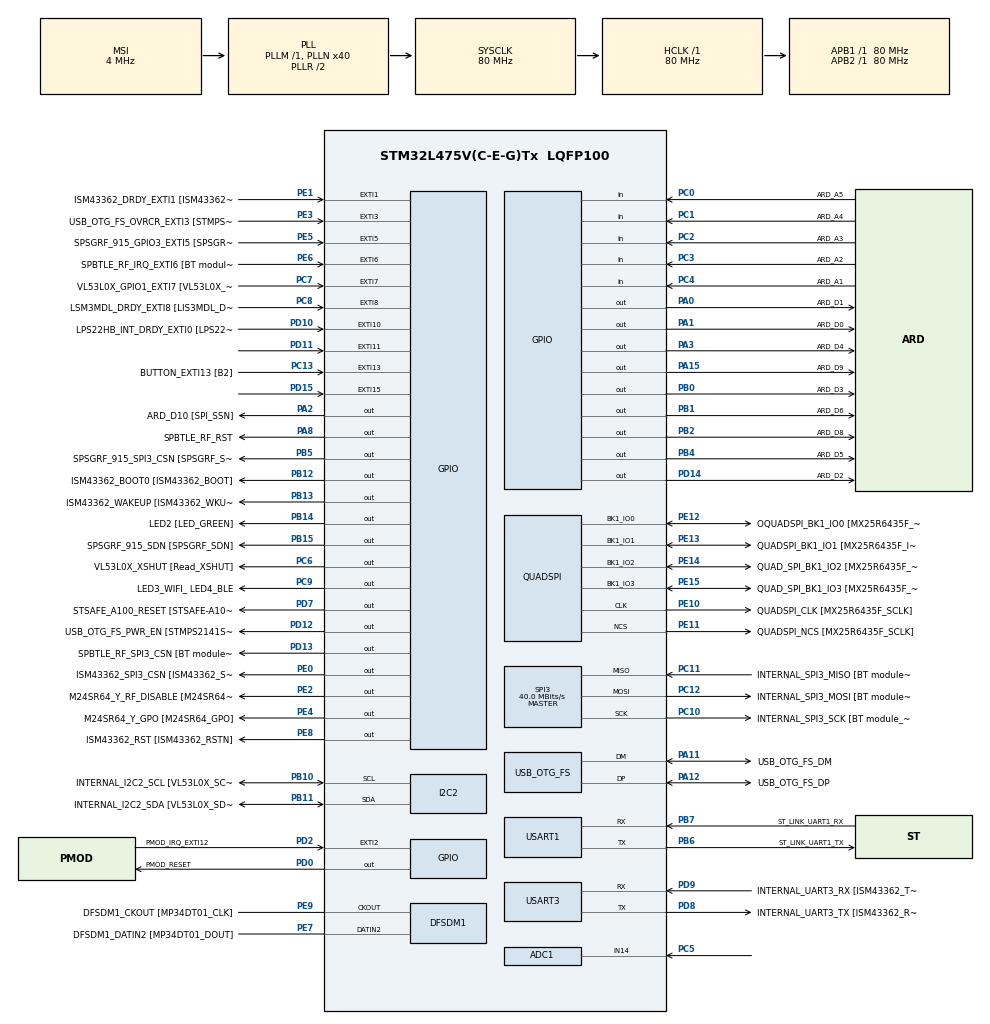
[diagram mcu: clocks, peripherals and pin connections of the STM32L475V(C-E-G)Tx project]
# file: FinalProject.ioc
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ADC1.Channel-0\#ChannelRegularConversion=ADC_CHANNEL_14
ADC1.EnableRegularConversion=ENABLE
ADC1.NbrOfConversionFlag=1
ADC1.OffsetNumber-0\#ChannelRegularConversion=ADC_OFFSET_NONE
ADC1.Rank-0\#ChannelRegularConversion=1
ADC1.SamplingTime-0\#ChannelRegularConversion=ADC_SAMPLETIME_2CYCLES_5
ADC1.master=1
I2C2.Timing=0x10D19CE4
Mcu.Family=STM32L4
Mcu.Name=STM32L475V(C-E-G)Tx
Mcu.Package=LQFP100
NVIC.EXTI15_10_IRQn=true\:0\:0\:false\:false\:true\:true\:true\:true
NVIC.EXTI9_5_IRQn=true\:0\:0\:false\:false\:true\:true\:true\:true
NVIC.PriorityGroup=NVIC_PRIORITYGROUP_4
NVIC.TIM6_DAC_IRQn=true\:0\:0\:false\:false\:true\:true\:true\:true
PA0.GPIO_Label=ARD_D1
PA0.Signal=GPIO_Output
PA1.GPIO_Label=ARD_D0
PA1.Signal=GPIO_Output
PA10.GPIO_Label=USB_OTG_FS_ID
PA10.Signal=USB_OTG_FS_ID
PA11.GPIO_Label=USB_OTG_FS_DM
PA11.Mode=Device_Only
PA11.Signal=USB_OTG_FS_DM
PA12.GPIO_Label=USB_OTG_FS_DP
PA12.Mode=Device_Only
PA12.Signal=USB_OTG_FS_DP
PA13\ (JTMS-SWDIO).GPIO_Label=SYS_JTMS_SWDIO
PA13\ (JTMS-SWDIO).Mode=Serial_Wire
PA13\ (JTMS-SWDIO).Signal=SYS_JTMS-SWDIO
PA14\ (JTCK-SWCLK).GPIO_Label=SYS_JTCK_SWCLK
PA14\ (JTCK-SWCLK).Mode=Serial_Wire
PA14\ (JTCK-SWCLK).Signal=SYS_JTCK-SWCLK
PA15\ (JTDI).GPIO_Label=ARD_D9
PA15\ (JTDI).Signal=GPIO_Output
PA2.GPIO_Label=ARD_D10 [SPI_SSN]
PA2.Signal=GPIO_Output
PA3.GPIO_Label=ARD_D4
PA3.Signal=GPIO_Output
PA4.GPIO_Label=ARD_D7
PA4.Signal=ADCx_IN9
PA5.GPIO_Label=ARD_D13 [SPI1_SCK]
PA5.Signal=SPI1_SCK
PA6.GPIO_Label=ARD_D12 [SPI1_MISO]
PA6.Signal=SPI1_MISO
PA7.GPIO_Label=ARD_D11 [SPI1_MOSI]
PA7.Signal=SPI1_MOSI
PA8.GPIO_Label=SPBTLE_RF_RST
PA8.Signal=GPIO_Output
PA9.GPIO_Label=USB_OTG_FS_VBUS [STMPS2141STR_OUT]
PA9.Signal=USB_OTG_FS_VBUS
PB0.GPIO_Label=ARD_D3
PB0.Signal=GPIO_Output
PB1.GPIO_Label=ARD_D6
PB1.Signal=GPIO_Output
PB10.GPIO_Label=INTERNAL_I2C2_SCL [VL53L0X_SCL]
PB10.GPIO_Pu=GPIO_PULLUP
PB10.Mode=I2C
PB10.Signal=I2C2_SCL
PB11.GPIO_Label=INTERNAL_I2C2_SDA [VL53L0X_SDA]
PB11.GPIO_Pu=GPIO_PULLUP
PB11.Mode=I2C
PB11.Signal=I2C2_SDA
PB12.GPIO_Label=ISM43362_BOOT0 [ISM43362_BOOT]
PB12.Signal=GPIO_Output
PB13.GPIO_Label=ISM43362_WAKEUP [ISM43362_WKUP]
PB13.Signal=GPIO_Output
PB14.GPIO_Label=LED2 [LED_GREEN]
PB14.Signal=GPIO_Output
PB15.GPIO_Label=SPSGRF_915_SDN [SPSGRF_SDN]
PB15.Signal=GPIO_Output
PB2.GPIO_Label=ARD_D8
PB2.Signal=GPIO_Output
PB3\ (JTDO-TRACESWO).GPIO_Label=SYS_JTD0_SWO
PB3\ (JTDO-TRACESWO).Signal=SYS_JTDO-SWO
PB4\ (NJTRST).GPIO_Label=ARD_D5
PB4\ (NJTRST).Signal=GPIO_Output
PB5.GPIO_Label=SPSGRF_915_SPI3_CSN [SPSGRF_SPI_CS]
PB5.PinState=GPIO_PIN_SET
PB5.Signal=GPIO_Output
PB6.GPIO_Label=ST_LINK_UART1_TX
PB6.Mode=Asynchronous
PB6.Signal=USART1_TX
PB7.GPIO_Label=ST_LINK_UART1_RX
PB7.Mode=Asynchronous
PB7.Signal=USART1_RX
PB8.GPIO_Label=ARD_D15 [I2C1_SCL]
PB8.Signal=I2C1_SCL
PB9.GPIO_Label=ARD_D14 [I2C1_SDA]
PB9.Signal=I2C1_SDA
PC0.GPIO_Label=ARD_A5
PC0.GPIO_PuPd=GPIO_PULLUP
PC0.Signal=GPIO_Input
PC1.GPIO_Label=ARD_A4
PC1.GPIO_PuPd=GPIO_PULLUP
PC1.Signal=GPIO_Input
PC10.GPIO_Label=INTERNAL_SPI3_SCK [BT module_SPI_SCLK] [ISM43362_SCK]
PC10.Mode=Full_Duplex_Master
PC10.Signal=SPI3_SCK
PC11.GPIO_Label=INTERNAL_SPI3_MISO [BT module_SPI_MISO] [ISM43362_MISO]
PC11.Mode=Full_Duplex_Master
PC11.Signal=SPI3_MISO
PC12.GPIO_Label=INTERNAL_SPI3_MOSI [BT module_SPI_MOSI] [ISM43362_MOSI]
PC12.Mode=Full_Duplex_Master
PC12.Signal=SPI3_MOSI
PC13.GPIO_Label=BUTTON_EXTI13 [B2]
PC13.GPIO_ModeDefaultEXTI=GPIO_MODE_IT_FALLING
PC13.Signal=GPXTI13
PC14-OSC32_IN\ (PC14).Mode=LSE-External-Oscillator
PC14-OSC32_IN\ (PC14).Signal=RCC_OSC32_IN
PC15-OSC32_OUT\ (PC15).Mode=LSE-External-Oscillator
PC15-OSC32_OUT\ (PC15).Signal=RCC_OSC32_OUT
PC2.GPIO_Label=ARD_A3
PC2.GPIO_PuPd=GPIO_PULLUP
PC2.Signal=GPIO_Input
PC3.GPIO_Label=ARD_A2
PC3.GPIO_PuPd=GPIO_PULLUP
PC3.Signal=GPIO_Input
PC4.GPIO_Label=ARD_A1
PC4.GPIO_PuPd=GPIO_PULLUP
PC4.Signal=GPIO_Input
PC5.Signal=ADCx_IN14
PC6.GPIO_Label=VL53L0X_XSHUT [Read_XSHUT]
PC6.Signal=GPIO_Output
PC7.GPIO_Label=VL53L0X_GPIO1_EXTI7 [VL53L0X_GPIO1]
PC7.Signal=GPXTI7
PC8.GPIO_Label=LSM3MDL_DRDY_EXTI8 [LIS3MDL_DRDY]
PC8.Signal=GPXTI8
PC9.GPIO_Label=LED3_WIFI_ LED4_BLE
PC9.Signal=GPIO_Output
PD0.GPIO_Label=PMOD_RESET
PD0.Signal=GPIO_Output
PD1.GPIO_Label=PMOD_SPI2_SCK
PD1.Signal=SPI2_SCK
PD10.GPIO_Label=LPS22HB_INT_DRDY_EXTI0 [LPS22HB_INT_DRDY] 
PD10.Signal=GPXTI10
PD11.Signal=GPXTI11
PD12.GPIO_Label=USB_OTG_FS_PWR_EN [STMPS2141STR_EN]
PD12.Signal=GPIO_Output
PD13.GPIO_Label=SPBTLE_RF_SPI3_CSN [BT module_SPI_CS]
PD13.PinState=GPIO_PIN_SET
PD13.Signal=GPIO_Output
PD14.GPIO_Label=ARD_D2
PD14.Signal=GPIO_Output
PD15.Signal=GPXTI15
PD2.GPIO_Label=PMOD_IRQ_EXTI12
PD2.Signal=GPXTI2
PD3.GPIO_Label=PMOD_UART2_CTS
PD3.Signal=USART2_CTS
PD4.GPIO_Label=PMOD_UART2_RTS
PD4.Signal=USART2_RTS
PD5.GPIO_Label=PMOD_UART2_TX
PD5.Signal=USART2_TX
PD6.GPIO_Label=PMOD_UART2_RX
PD6.Signal=USART2_RX
PD7.GPIO_Label=STSAFE_A100_RESET [STSAFE-A100_RESET]
PD7.Signal=GPIO_Output
PD8.GPIO_Label=INTERNAL_UART3_TX [ISM43362_RX]
PD8.Mode=Asynchronous
PD8.Signal=USART3_TX
PD9.GPIO_Label=INTERNAL_UART3_RX [ISM43362_TX]
PD9.Mode=Asynchronous
PD9.Signal=USART3_RX
PE0.GPIO_Label=ISM43362_SPI3_CSN [ISM43362_SSN]
PE0.PinState=GPIO_PIN_SET
PE0.Signal=GPIO_Output
PE1.GPIO_Label=ISM43362_DRDY_EXTI1 [ISM43362_DATARDY]
PE1.Signal=GPXTI1
PE10.GPIO_Label=QUADSPI_CLK [MX25R6435F_SCLK]
PE10.Mode=Single Bank
PE10.Signal=QUADSPI_CLK
PE11.GPIO_Label=QUADSPI_NCS [MX25R6435F_SCLK]
PE11.Mode=Single Bank
PE11.Signal=QUADSPI_NCS
PE12.GPIO_Label=OQUADSPI_BK1_IO0 [MX25R6435F_IO0]
PE12.Mode=Single Bank
PE12.Signal=QUADSPI_BK1_IO0
PE13.GPIO_Label=QUADSPI_BK1_IO1 [MX25R6435F_IO1]
PE13.Mode=Single Bank
PE13.Signal=QUADSPI_BK1_IO1
PE14.GPIO_Label=QUAD_SPI_BK1_IO2 [MX25R6435F_IO2]
PE14.Mode=Single Bank
PE14.Signal=QUADSPI_BK1_IO2
PE15.GPIO_Label=QUAD_SPI_BK1_IO3 [MX25R6435F_IO3]
PE15.Mode=Single Bank
PE15.Signal=QUADSPI_BK1_IO3
PE2.GPIO_Label=M24SR64_Y_RF_DISABLE [M24SR64_RFDIS]
PE2.Signal=GPIO_Output
PE3.GPIO_Label=USB_OTG_FS_OVRCR_EXTI3 [STMPS2141STR_FAULT]
PE3.Signal=GPXTI3
PE4.GPIO_Label=M24SR64_Y_GPO [M24SR64_GPO]
PE4.Signal=GPIO_Output
PE5.GPIO_Label=SPSGRF_915_GPIO3_EXTI5 [SPSGRF_GPIO_3]
PE5.Signal=GPXTI5
PE6.GPIO_Label=SPBTLE_RF_IRQ_EXTI6 [BT module_SPI_IRQ]
PE6.Signal=GPXTI6
PE7.GPIO_Label=DFSDM1_DATIN2 [MP34DT01_DOUT]
PE7.Signal=S_DATAIN2DFSDM1
PE8.GPIO_Label=ISM43362_RST [ISM43362_RSTN]
PE8.Signal=GPIO_Output
PE9.GPIO_Label=DFSDM1_CKOUT [MP34DT01_CLK]
PE9.Signal=S_CKOUTDFSDM1
ProjectManager.HeapSize=0x200
ProjectManager.StackSize=0x400
ProjectManager.TargetToolchain=STM32CubeIDE
QUADSPI.ClockPrescaler=2
QUADSPI.FifoThreshold=4
QUADSPI.FlashSize=23
QUADSPI.SampleShifting=QSPI_SAMPLE_SHIFTING_HALFCYCLE
RCC.ADCFreq_Value=48000000
RCC.AHBFreq_Value=80000000
RCC.APB1Freq_Value=80000000
RCC.APB1TimFreq_Value=80000000
RCC.APB2Freq_Value=80000000
RCC.APB2TimFreq_Value=80000000
RCC.CortexFreq_Value=80000000
RCC.HCLKFreq_Value=80000000
RCC.HSE_VALUE=8000000
RCC.HSI_VALUE=16000000
RCC.MSI_VALUE=4000000
RCC.PLLN=40
RCC.PLLSAI1N=24
RCC.SYSCLKFreq_VALUE=80000000
RCC.SYSCLKSource=RCC_SYSCLKSOURCE_PLLCLK
RCC.USBFreq_Value=48000000
RCC.VCOOutputFreq_Value=160000000
SH.ADCx_IN14.0=ADC1_IN14,IN14-Single-Ended
SH.ADCx_IN9.0=ADC1_IN9
SH.S_CKOUTDFSDM1.0=DFSDM1_CKOUT,CKOUT
SH.S_CKOUTDFSDM1.1=DFSDM1_CKOUT,PDM_SPI_Input_from_ch12_and_Internal_Clock
SH.S_DATAIN2DFSDM1.0=DFSDM1_DATIN2,PDM_SPI_Input_from_ch12_and_Internal_Clock
SPI3.CalculateBaudRate=40.0 MBits/s
SPI3.Direction=SPI_DIRECTION_2LINES
SPI3.Mode=SPI_MODE_MASTER
SPI3.VirtualType=VM_MASTER
USART1.VirtualMode-Asynchronous=VM_ASYNC
USART3.VirtualMode-Asynchronous=VM_ASYNC
USB_OTG_FS.VirtualMode=Device_Only
VP_TIM6_VS_ClockSourceINT.Mode=Enable_Timer
board=B-L475E-IOT01A2

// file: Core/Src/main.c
/* USER CODE BEGIN Header */
/**
  ******************************************************************************
  * @file           : main.c
  * @brief          : Main program body
  ******************************************************************************
  * @attention
  *
  * Copyright (c) 2025 STMicroelectronics.
  * All rights reserved.
  *
  * This software is licensed under terms that can be found in the LICENSE file
  * in the root directory of this software component.
  * If no LICENSE file comes with this software, it is provided AS-IS.
  *
  ******************************************************************************
  */
/* USER CODE END Header */
#include "main.h"

/* USER CODE BEGIN Includes */
#include "stm32l475e_iot01.h"
#include "stm32l475e_iot01_tsensor.h"

#include <stdio.h>
#include <string.h>
/* USER CODE END Includes */

/* USER CODE BEGIN PD */
#define PWR_ON_OFF 		BUTTON_EXTI13_Pin
#define PWR_ON_OFF_LED 	LED2_Pin

#define AUTO_OFF_LED ARD_D0_Pin
#define AUTO_OFF_LED_PORT ARD_D0_GPIO_Port

#define ADD_WATER_LED ARD_D1_Pin
#define ADD_WATER_LED_PORT ARD_D1_GPIO_Port

#define STRONG_BREW_LED ARD_D2_Pin
#define STRONG_BREW_LED_PORT ARD_D2_GPIO_Port

#define BREW_BUTTON_LED_1 ARD_D3_Pin
#define BREW_BUTTON_LED_1_PORT ARD_D3_GPIO_Port

#define BREW_BUTTON_LED_2 ARD_D4_Pin
#define BREW_BUTTON_LED_2_PORT ARD_D4_GPIO_Port

#define BREW_BUTTON_LED_3 ARD_D5_Pin
#define BREW_BUTTON_LED_3_PORT ARD_D5_GPIO_Port

#define BREW_BUTTON_LED_4 ARD_D6_Pin
#define BREW_BUTTON_LED_4_PORT ARD_D6_GPIO_Port

#define STRONG_BREW_BUTTON ARD_A1_Pin
#define STRONG_BREW_BUTTON_PORT ARD_A1_GPIO_Port
#define CUP_SIZE_BUTTON_1 ARD_A2_Pin
#define CUP_SIZE_BUTTON_1_PORT ARD_A2_GPIO_Port
#define CUP_SIZE_BUTTON_2 ARD_A3_Pin
#define CUP_SIZE_BUTTON_2_PORT ARD_A3_GPIO_Port
#define CUP_SIZE_BUTTON_3 ARD_A4_Pin
#define CUP_SIZE_BUTTON_3_PORT ARD_A4_GPIO_Port
#define CUP_SIZE_BUTTON_4 ARD_A5_Pin
#define CUP_SIZE_BUTTON_4_PORT ARD_A5_GPIO_Port

#define WATER_LVL_SENSOR ARD_A0_Pin

#define NONE	 	0x00
#define STRONG 	 	0x01
#define CUP_SIZE_1  0x02
#define CUP_SIZE_2  0x04
#define CUP_SIZE_3  0x08
#define CUP_SIZE_4  0x10
/* USER CODE END PD */

ADC_HandleTypeDef hadc1;

DFSDM_Channel_HandleTypeDef hdfsdm1_channel1;

I2C_HandleTypeDef hi2c2;

QSPI_HandleTypeDef hqspi;

SPI_HandleTypeDef hspi3;

TIM_HandleTypeDef htim6;

UART_HandleTypeDef huart1;
UART_HandleTypeDef huart3;

PCD_HandleTypeDef hpcd_USB_OTG_FS;

/* USER CODE BEGIN PV */
uint8_t coff_mkr_status = 0;
uint8_t elapsed_time = 0;

enum COFF_MKR_STATUS {
	COFF_MKR_OFF,
	COFF_MKR_ON
};

/* USER CODE END PV */

void SystemClock_Config(void);
void PeriphCommonClock_Config(void);
static void MX_GPIO_Init(void);
static void MX_DFSDM1_Init(void);
static void MX_I2C2_Init(void);
static void MX_QUADSPI_Init(void);
static void MX_SPI3_Init(void);
static void MX_USART1_UART_Init(void);
static void MX_USART3_UART_Init(void);
static void MX_USB_OTG_FS_PCD_Init(void);
static void MX_ADC1_Init(void);
static void MX_TIM6_Init(void);

/* USER CODE BEGIN 0 */
//Wrapper to transmit on UART1 using printf
int __io_putchar(int ch) {
	HAL_UART_Transmit(&huart1, (uint8_t *)&ch, 1, 100);
	return 1;
}

//Callback function to jump to when external interruption happens
void HAL_GPIO_EXTI_Callback(uint16_t GPIO_Pin) {
	//Switch LED2 on/off of every interruption
	//Toggle machine state every time User button is pressed
	coff_mkr_status = !coff_mkr_status;
	if (coff_mkr_status) {
		printf("COFFEE MAKER ON!!\r\n");
	}
	else
		printf("COFFEE MAKER OFF!!\r\n");
}
//Read Water Level and control Warning LED to turn on if water < 25%
void ReadWaterLevel(){
	static uint8_t prev_time = 0;
	HAL_ADC_Start(&hadc1);
	HAL_ADC_PollForConversion(&hadc1, 1000);
	//Get adc input and convert to 0-100%
	uint8_t water_lvl = HAL_ADC_GetValue(&hadc1) * (100.0 / 4096.0);
	//Check if water level less then 25%, and switch warning led on if true
	if (water_lvl <= 25)
		HAL_GPIO_WritePin(ADD_WATER_LED_PORT, ADD_WATER_LED, GPIO_PIN_SET);
	else
		HAL_GPIO_WritePin(ADD_WATER_LED_PORT, ADD_WATER_LED, GPIO_PIN_RESET);
	//Print message every 1 seconds
	if (elapsed_time != prev_time) {
		prev_time = elapsed_time;
		printf("Water Level: %d %%\r\n", water_lvl);
		if (water_lvl <= 25)
			printf("Water Level too low. Fill water tank!\r\n");
	}

}
//Read water temperature and print info
void ReadWaterTemp() {
	static uint8_t prev_time = 0;
	//Use BSP to get data from temperature sensor
	int water_temp = BSP_TSENSOR_ReadTemp();
	//Print message every 1 seconds
	if (elapsed_time != prev_time) {
		prev_time = elapsed_time;
		printf("Water Temp: %d C\r\n", water_temp);
	}
}

//Wrapper to control all outputs at once
void SetCoffeeMode(uint8_t coff_mod) {
	HAL_GPIO_WritePin(STRONG_BREW_LED_PORT, STRONG_BREW_LED, 	 coff_mod & STRONG);
	HAL_GPIO_WritePin(BREW_BUTTON_LED_1_PORT, BREW_BUTTON_LED_1, coff_mod & CUP_SIZE_1);
	HAL_GPIO_WritePin(BREW_BUTTON_LED_2_PORT, BREW_BUTTON_LED_2, coff_mod & CUP_SIZE_2);
	HAL_GPIO_WritePin(BREW_BUTTON_LED_3_PORT, BREW_BUTTON_LED_3, coff_mod & CUP_SIZE_3);
	HAL_GPIO_WritePin(BREW_BUTTON_LED_4_PORT, BREW_BUTTON_LED_4, coff_mod & CUP_SIZE_4);

}
//Callback function to jump to when external interruption happens
void HAL_TIM_PeriodElapsedCallback(TIM_HandleTypeDef *htim) {
	//Increment elapsed time in every 1 second
	if(htim->Instance == TIM6) {
		elapsed_time++;
	}
	/* Start TIM6 in interrupt mode */
	HAL_TIM_Base_Start_IT(&htim6);

}

/* USER CODE END 0 */

int main(void)
{

	/* USER CODE BEGIN 1 */
	uint8_t coff_time = 0;
	uint8_t debounce = 1;

	/* USER CODE END 1 */

	/* MCU Configuration--------------------------------------------------------*/

	/* Reset of all peripherals, Initializes the Flash interface and the Systick. */
	HAL_Init();

	/* Configure the system clock */
	SystemClock_Config();

	/* Configure the peripherals common clocks */
	PeriphCommonClock_Config();

	/* Initialize all configured peripherals */
	MX_GPIO_Init();
	MX_DFSDM1_Init();
	MX_I2C2_Init();
	MX_QUADSPI_Init();
	MX_SPI3_Init();
	MX_USART1_UART_Init();
	MX_USART3_UART_Init();
	MX_USB_OTG_FS_PCD_Init();
	MX_ADC1_Init();
	MX_TIM6_Init();
	/* USER CODE BEGIN 2 */
	//Initialize Devices from BSP
	BSP_TSENSOR_Init();

	HAL_TIM_IRQHandler(&htim6);
	/* Start TIM6 in interrupt mode */
	if (HAL_TIM_Base_Start_IT(&htim6) != HAL_OK) {
		/* Starting Error */
		Error_Handler();
	}

	HAL_GPIO_EXTI_IRQHandler(BUTTON_EXTI13_Pin);

	// Start first ADC conversion in interrupt mode
	if (HAL_ADC_Start(&hadc1) != HAL_OK)
	{
		// ADC start error
		Error_Handler();
	}

	/* USER CODE END 2 */

	/* Infinite loop */
	while (1)
	{

	/* USER CODE BEGIN 3 */
		//Check if the machine is On or OFF(Stand-by)
		switch(coff_mkr_status) {
			//Case OFF (Stand-by)
			case COFF_MKR_OFF:
				BSP_LED_Off(PWR_ON_OFF_LED);
				SetCoffeeMode(NONE);
				HAL_GPIO_WritePin(AUTO_OFF_LED_PORT, AUTO_OFF_LED, GPIO_PIN_RESET);
				break;
			//Case ON
			case COFF_MKR_ON:
				BSP_LED_On(PWR_ON_OFF_LED);
				HAL_GPIO_WritePin(AUTO_OFF_LED_PORT, AUTO_OFF_LED, GPIO_PIN_SET);
				ReadWaterLevel();
				ReadWaterTemp();
				//Read Inputs and choose the type of coffee to make
				if (!HAL_GPIO_ReadPin(STRONG_BREW_BUTTON_PORT, STRONG_BREW_BUTTON) && debounce) {
					debounce = 0;
					printf("Making Strong Coffee!\r\n");
					elapsed_time = 0;
					coff_time = 10;
					SetCoffeeMode(STRONG);

				}
				else if (!HAL_GPIO_ReadPin(CUP_SIZE_BUTTON_1_PORT, CUP_SIZE_BUTTON_1) && debounce) {
					debounce = 0;
					printf("Making Coffee Size 1!\r\n");
					elapsed_time = 0;
					coff_time = 2;
					SetCoffeeMode(CUP_SIZE_1);
				}
				else if (!HAL_GPIO_ReadPin(CUP_SIZE_BUTTON_2_PORT, CUP_SIZE_BUTTON_2) && debounce) {
					debounce = 0;
					printf("Making Coffee Size 2!\r\n");
					elapsed_time = 0;
					coff_time = 4;
					SetCoffeeMode(CUP_SIZE_2);
				}
				else if (!HAL_GPIO_ReadPin(CUP_SIZE_BUTTON_3_PORT, CUP_SIZE_BUTTON_3) && debounce) {
					debounce = 0;
					printf("Making Coffee Size 3!\r\n");
					elapsed_time = 0;
					coff_time = 6;
					SetCoffeeMode(CUP_SIZE_3);
				}
				else if (!HAL_GPIO_ReadPin(CUP_SIZE_BUTTON_4_PORT, CUP_SIZE_BUTTON_4) && debounce) {
					debounce = 0;
					printf("Making Coffee Size 4!\r\n");
					elapsed_time = 0;
					coff_time = 8;
					SetCoffeeMode(CUP_SIZE_4);
				}
				else if (HAL_GPIO_ReadPin(STRONG_BREW_BUTTON_PORT, STRONG_BREW_BUTTON) &&
						HAL_GPIO_ReadPin(CUP_SIZE_BUTTON_1_PORT, CUP_SIZE_BUTTON_1) &&
						HAL_GPIO_ReadPin(CUP_SIZE_BUTTON_2_PORT, CUP_SIZE_BUTTON_2) &&
						HAL_GPIO_ReadPin(CUP_SIZE_BUTTON_3_PORT, CUP_SIZE_BUTTON_3) &&
						HAL_GPIO_ReadPin(CUP_SIZE_BUTTON_4_PORT, CUP_SIZE_BUTTON_4)) {
					debounce = 1;
				}

				if (elapsed_time == coff_time) {
					coff_time = 0;
					SetCoffeeMode(NONE);
					printf("Your Coffee is ready!\r\n");
				}
				break;
		}
		//Debounce delay
		HAL_Delay(50);
	}
	/* USER CODE END 3 */
}

void SystemClock_Config(void)
{
  RCC_OscInitTypeDef RCC_OscInitStruct = {0};
  RCC_ClkInitTypeDef RCC_ClkInitStruct = {0};

  /** Configure the main internal regulator output voltage
  */
  if (HAL_PWREx_ControlVoltageScaling(PWR_REGULATOR_VOLTAGE_SCALE1) != HAL_OK)
  {
    Error_Handler();
  }

  /** Configure LSE Drive Capability
  */
  HAL_PWR_EnableBkUpAccess();
  __HAL_RCC_LSEDRIVE_CONFIG(RCC_LSEDRIVE_LOW);

  /** Initializes the RCC Oscillators according to the specified parameters
  * in the RCC_OscInitTypeDef structure.
  */
  RCC_OscInitStruct.OscillatorType = RCC_OSCILLATORTYPE_LSE|RCC_OSCILLATORTYPE_MSI;
  RCC_OscInitStruct.LSEState = RCC_LSE_ON;
  RCC_OscInitStruct.MSIState = RCC_MSI_ON;
  RCC_OscInitStruct.MSICalibrationValue = 0;
  RCC_OscInitStruct.MSIClockRange = RCC_MSIRANGE_6;
  RCC_OscInitStruct.PLL.PLLState = RCC_PLL_ON;
  RCC_OscInitStruct.PLL.PLLSource = RCC_PLLSOURCE_MSI;
  RCC_OscInitStruct.PLL.PLLM = 1;
  RCC_OscInitStruct.PLL.PLLN = 40;
  RCC_OscInitStruct.PLL.PLLP = RCC_PLLP_DIV7;
  RCC_OscInitStruct.PLL.PLLQ = RCC_PLLQ_DIV2;
  RCC_OscInitStruct.PLL.PLLR = RCC_PLLR_DIV2;
  if (HAL_RCC_OscConfig(&RCC_OscInitStruct) != HAL_OK)
  {
    Error_Handler();
  }

  /** Initializes the CPU, AHB and APB buses clocks
  */
  RCC_ClkInitStruct.ClockType = RCC_CLOCKTYPE_HCLK|RCC_CLOCKTYPE_SYSCLK
                              |RCC_CLOCKTYPE_PCLK1|RCC_CLOCKTYPE_PCLK2;
  RCC_ClkInitStruct.SYSCLKSource = RCC_SYSCLKSOURCE_PLLCLK;
  RCC_ClkInitStruct.AHBCLKDivider = RCC_SYSCLK_DIV1;
  RCC_ClkInitStruct.APB1CLKDivider = RCC_HCLK_DIV1;
  RCC_ClkInitStruct.APB2CLKDivider = RCC_HCLK_DIV1;

  if (HAL_RCC_ClockConfig(&RCC_ClkInitStruct, FLASH_LATENCY_4) != HAL_OK)
  {
    Error_Handler();
  }

  /** Enable MSI Auto calibration
  */
  HAL_RCCEx_EnableMSIPLLMode();
}

void PeriphCommonClock_Config(void)
{
  RCC_PeriphCLKInitTypeDef PeriphClkInit = {0};

  /** Initializes the peripherals clock
  */
  PeriphClkInit.PeriphClockSelection = RCC_PERIPHCLK_USB|RCC_PERIPHCLK_ADC;
  PeriphClkInit.AdcClockSelection = RCC_ADCCLKSOURCE_PLLSAI1;
  PeriphClkInit.UsbClockSelection = RCC_USBCLKSOURCE_PLLSAI1;
  PeriphClkInit.PLLSAI1.PLLSAI1Source = RCC_PLLSOURCE_MSI;
  PeriphClkInit.PLLSAI1.PLLSAI1M = 1;
  PeriphClkInit.PLLSAI1.PLLSAI1N = 24;
  PeriphClkInit.PLLSAI1.PLLSAI1P = RCC_PLLP_DIV7;
  PeriphClkInit.PLLSAI1.PLLSAI1Q = RCC_PLLQ_DIV2;
  PeriphClkInit.PLLSAI1.PLLSAI1R = RCC_PLLR_DIV2;
  PeriphClkInit.PLLSAI1.PLLSAI1ClockOut = RCC_PLLSAI1_48M2CLK|RCC_PLLSAI1_ADC1CLK;
  if (HAL_RCCEx_PeriphCLKConfig(&PeriphClkInit) != HAL_OK)
  {
    Error_Handler();
  }
}

static void MX_ADC1_Init(void)
{

  ADC_MultiModeTypeDef multimode = {0};
  ADC_ChannelConfTypeDef sConfig = {0};

  /** Common config
  */
  hadc1.Instance = ADC1;
  hadc1.Init.ClockPrescaler = ADC_CLOCK_ASYNC_DIV1;
  hadc1.Init.Resolution = ADC_RESOLUTION_12B;
  hadc1.Init.DataAlign = ADC_DATAALIGN_RIGHT;
  hadc1.Init.ScanConvMode = ADC_SCAN_DISABLE;
  hadc1.Init.EOCSelection = ADC_EOC_SINGLE_CONV;
  hadc1.Init.LowPowerAutoWait = DISABLE;
  hadc1.Init.ContinuousConvMode = DISABLE;
  hadc1.Init.NbrOfConversion = 1;
  hadc1.Init.DiscontinuousConvMode = DISABLE;
  hadc1.Init.ExternalTrigConv = ADC_SOFTWARE_START;
  hadc1.Init.ExternalTrigConvEdge = ADC_EXTERNALTRIGCONVEDGE_NONE;
  hadc1.Init.DMAContinuousRequests = DISABLE;
  hadc1.Init.Overrun = ADC_OVR_DATA_PRESERVED;
  hadc1.Init.OversamplingMode = DISABLE;
  if (HAL_ADC_Init(&hadc1) != HAL_OK)
  {
    Error_Handler();
  }

  /** Configure the ADC multi-mode
  */
  multimode.Mode = ADC_MODE_INDEPENDENT;
  if (HAL_ADCEx_MultiModeConfigChannel(&hadc1, &multimode) != HAL_OK)
  {
    Error_Handler();
  }

  /** Configure Regular Channel
  */
  sConfig.Channel = ADC_CHANNEL_14;
  sConfig.Rank = ADC_REGULAR_RANK_1;
  sConfig.SamplingTime = ADC_SAMPLETIME_2CYCLES_5;
  sConfig.SingleDiff = ADC_SINGLE_ENDED;
  sConfig.OffsetNumber = ADC_OFFSET_NONE;
  sConfig.Offset = 0;
  if (HAL_ADC_ConfigChannel(&hadc1, &sConfig) != HAL_OK)
  {
    Error_Handler();
  }

}

static void MX_DFSDM1_Init(void)
{

  hdfsdm1_channel1.Instance = DFSDM1_Channel1;
  hdfsdm1_channel1.Init.OutputClock.Activation = ENABLE;
  hdfsdm1_channel1.Init.OutputClock.Selection = DFSDM_CHANNEL_OUTPUT_CLOCK_SYSTEM;
  hdfsdm1_channel1.Init.OutputClock.Divider = 2;
  hdfsdm1_channel1.Init.Input.Multiplexer = DFSDM_CHANNEL_EXTERNAL_INPUTS;
  hdfsdm1_channel1.Init.Input.DataPacking = DFSDM_CHANNEL_STANDARD_MODE;
  hdfsdm1_channel1.Init.Input.Pins = DFSDM_CHANNEL_FOLLOWING_CHANNEL_PINS;
  hdfsdm1_channel1.Init.SerialInterface.Type = DFSDM_CHANNEL_SPI_RISING;
  hdfsdm1_channel1.Init.SerialInterface.SpiClock = DFSDM_CHANNEL_SPI_CLOCK_INTERNAL;
  hdfsdm1_channel1.Init.Awd.FilterOrder = DFSDM_CHANNEL_FASTSINC_ORDER;
  hdfsdm1_channel1.Init.Awd.Oversampling = 1;
  hdfsdm1_channel1.Init.Offset = 0;
  hdfsdm1_channel1.Init.RightBitShift = 0x00;
  if (HAL_DFSDM_ChannelInit(&hdfsdm1_channel1) != HAL_OK)
  {
    Error_Handler();
  }

}

static void MX_I2C2_Init(void)
{

  hi2c2.Instance = I2C2;
  hi2c2.Init.Timing = 0x10D19CE4;
  hi2c2.Init.OwnAddress1 = 0;
  hi2c2.Init.AddressingMode = I2C_ADDRESSINGMODE_7BIT;
  hi2c2.Init.DualAddressMode = I2C_DUALADDRESS_DISABLE;
  hi2c2.Init.OwnAddress2 = 0;
  hi2c2.Init.OwnAddress2Masks = I2C_OA2_NOMASK;
  hi2c2.Init.GeneralCallMode = I2C_GENERALCALL_DISABLE;
  hi2c2.Init.NoStretchMode = I2C_NOSTRETCH_DISABLE;
  if (HAL_I2C_Init(&hi2c2) != HAL_OK)
  {
    Error_Handler();
  }

  /** Configure Analogue filter
  */
  if (HAL_I2CEx_ConfigAnalogFilter(&hi2c2, I2C_ANALOGFILTER_ENABLE) != HAL_OK)
  {
    Error_Handler();
  }

  /** Configure Digital filter
  */
  if (HAL_I2CEx_ConfigDigitalFilter(&hi2c2, 0) != HAL_OK)
  {
    Error_Handler();
  }

}

static void MX_QUADSPI_Init(void)
{

  /* QUADSPI parameter configuration*/
  hqspi.Instance = QUADSPI;
  hqspi.Init.ClockPrescaler = 2;
  hqspi.Init.FifoThreshold = 4;
  hqspi.Init.SampleShifting = QSPI_SAMPLE_SHIFTING_HALFCYCLE;
  hqspi.Init.FlashSize = 23;
  hqspi.Init.ChipSelectHighTime = QSPI_CS_HIGH_TIME_1_CYCLE;
  hqspi.Init.ClockMode = QSPI_CLOCK_MODE_0;
  if (HAL_QSPI_Init(&hqspi) != HAL_OK)
  {
    Error_Handler();
  }

}

static void MX_SPI3_Init(void)
{

  /* SPI3 parameter configuration*/
  hspi3.Instance = SPI3;
  hspi3.Init.Mode = SPI_MODE_MASTER;
  hspi3.Init.Direction = SPI_DIRECTION_2LINES;
  hspi3.Init.DataSize = SPI_DATASIZE_4BIT;
  hspi3.Init.CLKPolarity = SPI_POLARITY_LOW;
  hspi3.Init.CLKPhase = SPI_PHASE_1EDGE;
  hspi3.Init.NSS = SPI_NSS_SOFT;
  hspi3.Init.BaudRatePrescaler = SPI_BAUDRATEPRESCALER_2;
  hspi3.Init.FirstBit = SPI_FIRSTBIT_MSB;
  hspi3.Init.TIMode = SPI_TIMODE_DISABLE;
  hspi3.Init.CRCCalculation = SPI_CRCCALCULATION_DISABLE;
  hspi3.Init.CRCPolynomial = 7;
  hspi3.Init.CRCLength = SPI_CRC_LENGTH_DATASIZE;
  hspi3.Init.NSSPMode = SPI_NSS_PULSE_ENABLE;
  if (HAL_SPI_Init(&hspi3) != HAL_OK)
  {
    Error_Handler();
  }

}

static void MX_TIM6_Init(void)
{

  TIM_MasterConfigTypeDef sMasterConfig = {0};

  htim6.Instance = TIM6;
  htim6.Init.Prescaler = 7999;
  htim6.Init.CounterMode = TIM_COUNTERMODE_UP;
  htim6.Init.Period = 9999;
  htim6.Init.AutoReloadPreload = TIM_AUTORELOAD_PRELOAD_DISABLE;
  if (HAL_TIM_Base_Init(&htim6) != HAL_OK)
  {
    Error_Handler();
  }
  sMasterConfig.MasterOutputTrigger = TIM_TRGO_RESET;
  sMasterConfig.MasterSlaveMode = TIM_MASTERSLAVEMODE_DISABLE;
  if (HAL_TIMEx_MasterConfigSynchronization(&htim6, &sMasterConfig) != HAL_OK)
  {
    Error_Handler();
  }

}

static void MX_USART1_UART_Init(void)
{

  huart1.Instance = USART1;
  huart1.Init.BaudRate = 115200;
  huart1.Init.WordLength = UART_WORDLENGTH_8B;
  huart1.Init.StopBits = UART_STOPBITS_1;
  huart1.Init.Parity = UART_PARITY_NONE;
  huart1.Init.Mode = UART_MODE_TX_RX;
  huart1.Init.HwFlowCtl = UART_HWCONTROL_NONE;
  huart1.Init.OverSampling = UART_OVERSAMPLING_16;
  huart1.Init.OneBitSampling = UART_ONE_BIT_SAMPLE_DISABLE;
  huart1.AdvancedInit.AdvFeatureInit = UART_ADVFEATURE_NO_INIT;
  if (HAL_UART_Init(&huart1) != HAL_OK)
  {
    Error_Handler();
  }

}

static void MX_USART3_UART_Init(void)
{

  huart3.Instance = USART3;
  huart3.Init.BaudRate = 115200;
  huart3.Init.WordLength = UART_WORDLENGTH_8B;
  huart3.Init.StopBits = UART_STOPBITS_1;
  huart3.Init.Parity = UART_PARITY_NONE;
  huart3.Init.Mode = UART_MODE_TX_RX;
  huart3.Init.HwFlowCtl = UART_HWCONTROL_NONE;
  huart3.Init.OverSampling = UART_OVERSAMPLING_16;
  huart3.Init.OneBitSampling = UART_ONE_BIT_SAMPLE_DISABLE;
  huart3.AdvancedInit.AdvFeatureInit = UART_ADVFEATURE_NO_INIT;
  if (HAL_UART_Init(&huart3) != HAL_OK)
  {
    Error_Handler();
  }

}

static void MX_USB_OTG_FS_PCD_Init(void)
{

  hpcd_USB_OTG_FS.Instance = USB_OTG_FS;
  hpcd_USB_OTG_FS.Init.dev_endpoints = 6;
  hpcd_USB_OTG_FS.Init.speed = PCD_SPEED_FULL;
  hpcd_USB_OTG_FS.Init.phy_itface = PCD_PHY_EMBEDDED;
  hpcd_USB_OTG_FS.Init.Sof_enable = DISABLE;
  hpcd_USB_OTG_FS.Init.low_power_enable = DISABLE;
  hpcd_USB_OTG_FS.Init.lpm_enable = DISABLE;
  hpcd_USB_OTG_FS.Init.battery_charging_enable = DISABLE;
  hpcd_USB_OTG_FS.Init.use_dedicated_ep1 = DISABLE;
  hpcd_USB_OTG_FS.Init.vbus_sensing_enable = DISABLE;
  if (HAL_PCD_Init(&hpcd_USB_OTG_FS) != HAL_OK)
  {
    Error_Handler();
  }

}

static void MX_GPIO_Init(void)
{
  GPIO_InitTypeDef GPIO_InitStruct = {0};

  /* GPIO Ports Clock Enable */
  __HAL_RCC_GPIOE_CLK_ENABLE();
  __HAL_RCC_GPIOC_CLK_ENABLE();
  __HAL_RCC_GPIOA_CLK_ENABLE();
  __HAL_RCC_GPIOB_CLK_ENABLE();
  __HAL_RCC_GPIOD_CLK_ENABLE();

  /*Configure GPIO pin Output Level */
  HAL_GPIO_WritePin(GPIOE, M24SR64_Y_RF_DISABLE_Pin|M24SR64_Y_GPO_Pin|ISM43362_RST_Pin, GPIO_PIN_RESET);

  /*Configure GPIO pin Output Level */
  HAL_GPIO_WritePin(GPIOA, ARD_D1_Pin|ARD_D0_Pin|ARD_D10_Pin|ARD_D4_Pin
                          |SPBTLE_RF_RST_Pin|ARD_D9_Pin, GPIO_PIN_RESET);

  /*Configure GPIO pin Output Level */
  HAL_GPIO_WritePin(GPIOB, ARD_D3_Pin|ARD_D6_Pin|ARD_D8_Pin|ISM43362_BOOT0_Pin
                          |ISM43362_WAKEUP_Pin|LED2_Pin|SPSGRF_915_SDN_Pin|ARD_D5_Pin, GPIO_PIN_RESET);

  /*Configure GPIO pin Output Level */
  HAL_GPIO_WritePin(GPIOD, USB_OTG_FS_PWR_EN_Pin|ARD_D2_Pin|PMOD_RESET_Pin|STSAFE_A100_RESET_Pin, GPIO_PIN_RESET);

  /*Configure GPIO pin Output Level */
  HAL_GPIO_WritePin(SPBTLE_RF_SPI3_CSN_GPIO_Port, SPBTLE_RF_SPI3_CSN_Pin, GPIO_PIN_SET);

  /*Configure GPIO pin Output Level */
  HAL_GPIO_WritePin(GPIOC, VL53L0X_XSHUT_Pin|LED3_WIFI__LED4_BLE_Pin, GPIO_PIN_RESET);

  /*Configure GPIO pin Output Level */
  HAL_GPIO_WritePin(SPSGRF_915_SPI3_CSN_GPIO_Port, SPSGRF_915_SPI3_CSN_Pin, GPIO_PIN_SET);

  /*Configure GPIO pin Output Level */
  HAL_GPIO_WritePin(ISM43362_SPI3_CSN_GPIO_Port, ISM43362_SPI3_CSN_Pin, GPIO_PIN_SET);

  /*Configure GPIO pins : M24SR64_Y_RF_DISABLE_Pin M24SR64_Y_GPO_Pin ISM43362_RST_Pin ISM43362_SPI3_CSN_Pin */
  GPIO_InitStruct.Pin = M24SR64_Y_RF_DISABLE_Pin|M24SR64_Y_GPO_Pin|ISM43362_RST_Pin|ISM43362_SPI3_CSN_Pin;
  GPIO_InitStruct.Mode = GPIO_MODE_OUTPUT_PP;
  GPIO_InitStruct.Pull = GPIO_NOPULL;
  GPIO_InitStruct.Speed = GPIO_SPEED_FREQ_LOW;
  HAL_GPIO_Init(GPIOE, &GPIO_InitStruct);

  /*Configure GPIO pins : USB_OTG_FS_OVRCR_EXTI3_Pin SPSGRF_915_GPIO3_EXTI5_Pin SPBTLE_RF_IRQ_EXTI6_Pin ISM43362_DRDY_EXTI1_Pin */
  GPIO_InitStruct.Pin = USB_OTG_FS_OVRCR_EXTI3_Pin|SPSGRF_915_GPIO3_EXTI5_Pin|SPBTLE_RF_IRQ_EXTI6_Pin|ISM43362_DRDY_EXTI1_Pin;
  GPIO_InitStruct.Mode = GPIO_MODE_IT_RISING;
  GPIO_InitStruct.Pull = GPIO_NOPULL;
  HAL_GPIO_Init(GPIOE, &GPIO_InitStruct);

  /*Configure GPIO pin : BUTTON_EXTI13_Pin */
  GPIO_InitStruct.Pin = BUTTON_EXTI13_Pin;
  GPIO_InitStruct.Mode = GPIO_MODE_IT_FALLING;
  GPIO_InitStruct.Pull = GPIO_NOPULL;
  HAL_GPIO_Init(BUTTON_EXTI13_GPIO_Port, &GPIO_InitStruct);

  /*Configure GPIO pins : ARD_A5_Pin ARD_A4_Pin ARD_A3_Pin ARD_A2_Pin
                           ARD_A1_Pin */
  GPIO_InitStruct.Pin = ARD_A5_Pin|ARD_A4_Pin|ARD_A3_Pin|ARD_A2_Pin
                          |ARD_A1_Pin;
  GPIO_InitStruct.Mode = GPIO_MODE_INPUT;
  GPIO_InitStruct.Pull = GPIO_PULLUP;
  HAL_GPIO_Init(GPIOC, &GPIO_InitStruct);

  /*Configure GPIO pins : ARD_D1_Pin ARD_D0_Pin ARD_D10_Pin ARD_D4_Pin
                           SPBTLE_RF_RST_Pin ARD_D9_Pin */
  GPIO_InitStruct.Pin = ARD_D1_Pin|ARD_D0_Pin|ARD_D10_Pin|ARD_D4_Pin
                          |SPBTLE_RF_RST_Pin|ARD_D9_Pin;
  GPIO_InitStruct.Mode = GPIO_MODE_OUTPUT_PP;
  GPIO_InitStruct.Pull = GPIO_NOPULL;
  GPIO_InitStruct.Speed = GPIO_SPEED_FREQ_LOW;
  HAL_GPIO_Init(GPIOA, &GPIO_InitStruct);

  /*Configure GPIO pins : ARD_D13_Pin ARD_D12_Pin ARD_D11_Pin */
  GPIO_InitStruct.Pin = ARD_D13_Pin|ARD_D12_Pin|ARD_D11_Pin;
  GPIO_InitStruct.Mode = GPIO_MODE_AF_PP;
  GPIO_InitStruct.Pull = GPIO_NOPULL;
  GPIO_InitStruct.Speed = GPIO_SPEED_FREQ_VERY_HIGH;
  GPIO_InitStruct.Alternate = GPIO_AF5_SPI1;
  HAL_GPIO_Init(GPIOA, &GPIO_InitStruct);

  /*Configure GPIO pins : ARD_D3_Pin ARD_D6_Pin ARD_D8_Pin ISM43362_BOOT0_Pin
                           ISM43362_WAKEUP_Pin LED2_Pin SPSGRF_915_SDN_Pin ARD_D5_Pin
                           SPSGRF_915_SPI3_CSN_Pin */
  GPIO_InitStruct.Pin = ARD_D3_Pin|ARD_D6_Pin|ARD_D8_Pin|ISM43362_BOOT0_Pin
                          |ISM43362_WAKEUP_Pin|LED2_Pin|SPSGRF_915_SDN_Pin|ARD_D5_Pin
                          |SPSGRF_915_SPI3_CSN_Pin;
  GPIO_InitStruct.Mode = GPIO_MODE_OUTPUT_PP;
  GPIO_InitStruct.Pull = GPIO_NOPULL;
  GPIO_InitStruct.Speed = GPIO_SPEED_FREQ_LOW;
  HAL_GPIO_Init(GPIOB, &GPIO_InitStruct);

  /*Configure GPIO pins : LPS22HB_INT_DRDY_EXTI0_Pin PD11 PD15 PMOD_IRQ_EXTI12_Pin */
  GPIO_InitStruct.Pin = LPS22HB_INT_DRDY_EXTI0_Pin|GPIO_PIN_11|GPIO_PIN_15|PMOD_IRQ_EXTI12_Pin;
  GPIO_InitStruct.Mode = GPIO_MODE_IT_RISING;
  GPIO_InitStruct.Pull = GPIO_NOPULL;
  HAL_GPIO_Init(GPIOD, &GPIO_InitStruct);

  /*Configure GPIO pins : USB_OTG_FS_PWR_EN_Pin SPBTLE_RF_SPI3_CSN_Pin ARD_D2_Pin PMOD_RESET_Pin
                           STSAFE_A100_RESET_Pin */
  GPIO_InitStruct.Pin = USB_OTG_FS_PWR_EN_Pin|SPBTLE_RF_SPI3_CSN_Pin|ARD_D2_Pin|PMOD_RESET_Pin
                          |STSAFE_A100_RESET_Pin;
  GPIO_InitStruct.Mode = GPIO_MODE_OUTPUT_PP;
  GPIO_InitStruct.Pull = GPIO_NOPULL;
  GPIO_InitStruct.Speed = GPIO_SPEED_FREQ_LOW;
  HAL_GPIO_Init(GPIOD, &GPIO_InitStruct);

  /*Configure GPIO pins : VL53L0X_XSHUT_Pin LED3_WIFI__LED4_BLE_Pin */
  GPIO_InitStruct.Pin = VL53L0X_XSHUT_Pin|LED3_WIFI__LED4_BLE_Pin;
  GPIO_InitStruct.Mode = GPIO_MODE_OUTPUT_PP;
  GPIO_InitStruct.Pull = GPIO_NOPULL;
  GPIO_InitStruct.Speed = GPIO_SPEED_FREQ_LOW;
  HAL_GPIO_Init(GPIOC, &GPIO_InitStruct);

  /*Configure GPIO pins : VL53L0X_GPIO1_EXTI7_Pin LSM3MDL_DRDY_EXTI8_Pin */
  GPIO_InitStruct.Pin = VL53L0X_GPIO1_EXTI7_Pin|LSM3MDL_DRDY_EXTI8_Pin;
  GPIO_InitStruct.Mode = GPIO_MODE_IT_RISING;
  GPIO_InitStruct.Pull = GPIO_NOPULL;
  HAL_GPIO_Init(GPIOC, &GPIO_InitStruct);

  /*Configure GPIO pin : PMOD_SPI2_SCK_Pin */
  GPIO_InitStruct.Pin = PMOD_SPI2_SCK_Pin;
  GPIO_InitStruct.Mode = GPIO_MODE_AF_PP;
  GPIO_InitStruct.Pull = GPIO_NOPULL;
  GPIO_InitStruct.Speed = GPIO_SPEED_FREQ_VERY_HIGH;
  GPIO_InitStruct.Alternate = GPIO_AF5_SPI2;
  HAL_GPIO_Init(PMOD_SPI2_SCK_GPIO_Port, &GPIO_InitStruct);

  /*Configure GPIO pins : PMOD_UART2_CTS_Pin PMOD_UART2_RTS_Pin PMOD_UART2_TX_Pin PMOD_UART2_RX_Pin */
  GPIO_InitStruct.Pin = PMOD_UART2_CTS_Pin|PMOD_UART2_RTS_Pin|PMOD_UART2_TX_Pin|PMOD_UART2_RX_Pin;
  GPIO_InitStruct.Mode = GPIO_MODE_AF_PP;
  GPIO_InitStruct.Pull = GPIO_NOPULL;
  GPIO_InitStruct.Speed = GPIO_SPEED_FREQ_VERY_HIGH;
  GPIO_InitStruct.Alternate = GPIO_AF7_USART2;
  HAL_GPIO_Init(GPIOD, &GPIO_InitStruct);

  /*Configure GPIO pins : ARD_D15_Pin ARD_D14_Pin */
  GPIO_InitStruct.Pin = ARD_D15_Pin|ARD_D14_Pin;
  GPIO_InitStruct.Mode = GPIO_MODE_AF_OD;
  GPIO_InitStruct.Pull = GPIO_NOPULL;
  GPIO_InitStruct.Speed = GPIO_SPEED_FREQ_VERY_HIGH;
  GPIO_InitStruct.Alternate = GPIO_AF4_I2C1;
  HAL_GPIO_Init(GPIOB, &GPIO_InitStruct);

  /* EXTI interrupt init*/
  HAL_NVIC_SetPriority(EXTI9_5_IRQn, 0, 0);
  HAL_NVIC_EnableIRQ(EXTI9_5_IRQn);

  HAL_NVIC_SetPriority(EXTI15_10_IRQn, 0, 0);
  HAL_NVIC_EnableIRQ(EXTI15_10_IRQn);

}

void Error_Handler(void)
{
  __disable_irq();
  while (1)
  {
  }
}
